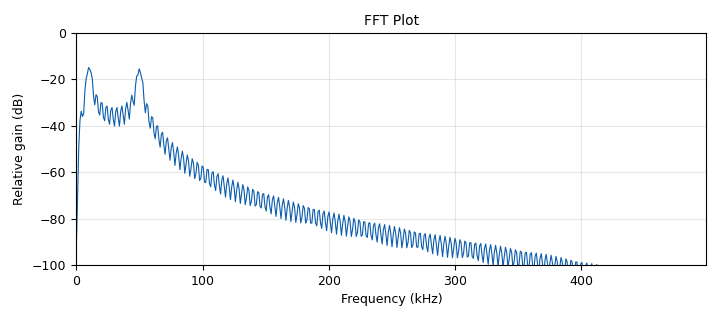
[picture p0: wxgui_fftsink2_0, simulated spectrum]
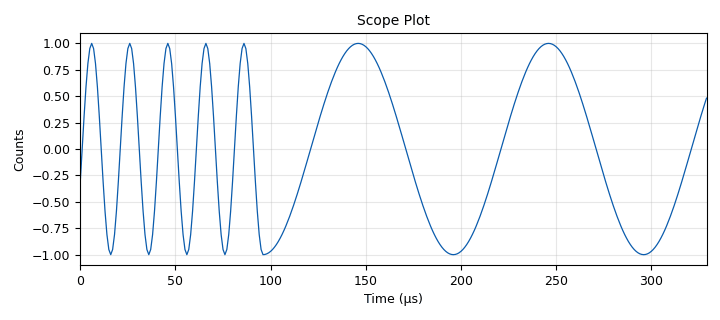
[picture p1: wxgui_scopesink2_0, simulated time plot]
<?xml version='1.0' encoding='utf-8'?>
<?grc format='1' created='3.7.11'?>
<flow_graph>
<block>
<key>options</key>
<param><key>id</key><value>top_block</value></param>
<param><key>author</key><value>AKADEMIKA Lab Solution</value></param>
<param><key>category</key><value>Custom</value></param>
<param><key>generate_options</key><value>wx_gui</value></param>
<param><key>title</key><value>FSK Modulation</value></param>
</block>
<block>
<key>variable</key>
<param><key>id</key><value>ampli</value></param>
<param><key>value</key><value>1</value></param>
</block>
<block>
<key>variable</key>
<param><key>id</key><value>freq</value></param>
<param><key>value</key><value>10000</value></param>
</block>
<block>
<key>variable</key>
<param><key>id</key><value>freq1</value></param>
<param><key>value</key><value>50000</value></param>
</block>
<block>
<key>variable</key>
<param><key>id</key><value>samp_rate</value></param>
<param><key>value</key><value>1000000</value></param>
</block>
<block>
<key>analog_sig_source_x</key>
<param><key>id</key><value>analog_sig_source_x_0</value></param>
<param><key>amp</key><value>ampli</value></param>
<param><key>freq</key><value>freq</value></param>
<param><key>offset</key><value>0</value></param>
<param><key>type</key><value>float</value></param>
<param><key>samp_rate</key><value>samp_rate</value></param>
<param><key>waveform</key><value>analog.GR_COS_WAVE</value></param>
</block>
<block>
<key>analog_sig_source_x</key>
<param><key>id</key><value>analog_sig_source_x_0_0</value></param>
<param><key>amp</key><value>ampli</value></param>
<param><key>freq</key><value>2000</value></param>
<param><key>offset</key><value>0</value></param>
<param><key>type</key><value>float</value></param>
<param><key>samp_rate</key><value>samp_rate</value></param>
<param><key>waveform</key><value>analog.GR_SQR_WAVE</value></param>
</block>
<block>
<key>analog_sig_source_x</key>
<param><key>id</key><value>analog_sig_source_x_0_1</value></param>
<param><key>amp</key><value>ampli</value></param>
<param><key>freq</key><value>freq1</value></param>
<param><key>offset</key><value>0</value></param>
<param><key>type</key><value>float</value></param>
<param><key>samp_rate</key><value>samp_rate</value></param>
<param><key>waveform</key><value>analog.GR_COS_WAVE</value></param>
</block>
<block>
<key>blocks_add_xx</key>
<param><key>id</key><value>blocks_add_xx_0</value></param>
<param><key>type</key><value>float</value></param>
</block>
<block>
<key>blocks_throttle</key>
<param><key>id</key><value>blocks_throttle_0</value></param>
<param><key>samples_per_second</key><value>samp_rate</value></param>
<param><key>type</key><value>float</value></param>
</block>
<block>
<key>blocks_throttle</key>
<param><key>id</key><value>blocks_throttle_0_0</value></param>
<param><key>samples_per_second</key><value>samp_rate</value></param>
<param><key>type</key><value>float</value></param>
</block>
<block>
<key>blocks_throttle</key>
<param><key>id</key><value>blocks_throttle_0_1</value></param>
<param><key>samples_per_second</key><value>samp_rate</value></param>
<param><key>type</key><value>float</value></param>
</block>
<block>
<key>blocks_add_const_vxx</key>
<param><key>id</key><value>delay</value></param>
<param><key>const</key><value>ampli</value></param>
<param><key>type</key><value>float</value></param>
</block>
<block>
<key>blocks_multiply_const_vxx</key>
<param><key>id</key><value>invert</value></param>
<param><key>const</key><value>-1</value></param>
<param><key>type</key><value>float</value></param>
</block>
<block>
<key>blocks_multiply_xx</key>
<param><key>id</key><value>mixer</value></param>
<param><key>type</key><value>float</value></param>
</block>
<block>
<key>blocks_multiply_xx</key>
<param><key>id</key><value>mixer_0</value></param>
<param><key>type</key><value>float</value></param>
</block>
<block>
<key>wxgui_fftsink2</key>
<param><key>id</key><value>wxgui_fftsink2_0</value></param>
<param><key>avg_alpha</key><value>0</value></param>
<param><key>average</key><value>False</value></param>
<param><key>baseband_freq</key><value>0</value></param>
<param><key>fft_size</key><value>1024</value></param>
<param><key>freqvar</key><value>None</value></param>
<param><key>peak_hold</key><value>False</value></param>
<param><key>ref_level</key><value>0</value></param>
<param><key>ref_scale</key><value>2.0</value></param>
<param><key>fft_rate</key><value>15</value></param>
<param><key>samp_rate</key><value>samp_rate</value></param>
<param><key>title</key><value>FFT Plot</value></param>
<param><key>type</key><value>float</value></param>
<param><key>win</key><value>None</value></param>
<param><key>y_divs</key><value>10</value></param>
<param><key>y_per_div</key><value>10</value></param>
</block>
<block>
<key>wxgui_scopesink2</key>
<param><key>id</key><value>wxgui_scopesink2_0</value></param>
<param><key>ac_couple</key><value>False</value></param>
<param><key>num_inputs</key><value>1</value></param>
<param><key>samp_rate</key><value>samp_rate</value></param>
<param><key>t_scale</key><value>0</value></param>
<param><key>title</key><value>Scope Plot</value></param>
<param><key>trig_mode</key><value>wxgui.TRIG_MODE_AUTO</value></param>
<param><key>type</key><value>float</value></param>
<param><key>v_offset</key><value>0</value></param>
<param><key>v_scale</key><value>0</value></param>
<param><key>xy_mode</key><value>False</value></param>
<param><key>y_axis_label</key><value>Counts</value></param>
</block>
<connection><source_block_id>analog_sig_source_x_0</source_block_id><sink_block_id>blocks_throttle_0</sink_block_id><source_key>0</source_key><sink_key>0</sink_key></connection>
<connection><source_block_id>analog_sig_source_x_0_0</source_block_id><sink_block_id>blocks_throttle_0_1</sink_block_id><source_key>0</source_key><sink_key>0</sink_key></connection>
<connection><source_block_id>analog_sig_source_x_0_1</source_block_id><sink_block_id>blocks_throttle_0_0</sink_block_id><source_key>0</source_key><sink_key>0</sink_key></connection>
<connection><source_block_id>blocks_add_xx_0</source_block_id><sink_block_id>wxgui_fftsink2_0</sink_block_id><source_key>0</source_key><sink_key>0</sink_key></connection>
<connection><source_block_id>blocks_add_xx_0</source_block_id><sink_block_id>wxgui_scopesink2_0</sink_block_id><source_key>0</source_key><sink_key>0</sink_key></connection>
<connection><source_block_id>blocks_throttle_0</source_block_id><sink_block_id>mixer_0</sink_block_id><source_key>0</source_key><sink_key>0</sink_key></connection>
<connection><source_block_id>blocks_throttle_0_0</source_block_id><sink_block_id>mixer</sink_block_id><source_key>0</source_key><sink_key>1</sink_key></connection>
<connection><source_block_id>blocks_throttle_0_1</source_block_id><sink_block_id>invert</sink_block_id><source_key>0</source_key><sink_key>0</sink_key></connection>
<connection><source_block_id>blocks_throttle_0_1</source_block_id><sink_block_id>mixer_0</sink_block_id><source_key>0</source_key><sink_key>1</sink_key></connection>
<connection><source_block_id>delay</source_block_id><sink_block_id>mixer</sink_block_id><source_key>0</source_key><sink_key>0</sink_key></connection>
<connection><source_block_id>invert</source_block_id><sink_block_id>delay</sink_block_id><source_key>0</source_key><sink_key>0</sink_key></connection>
<connection><source_block_id>mixer</source_block_id><sink_block_id>blocks_add_xx_0</sink_block_id><source_key>0</source_key><sink_key>1</sink_key></connection>
<connection><source_block_id>mixer_0</source_block_id><sink_block_id>blocks_add_xx_0</sink_block_id><source_key>0</source_key><sink_key>0</sink_key></connection>
</flow_graph>
